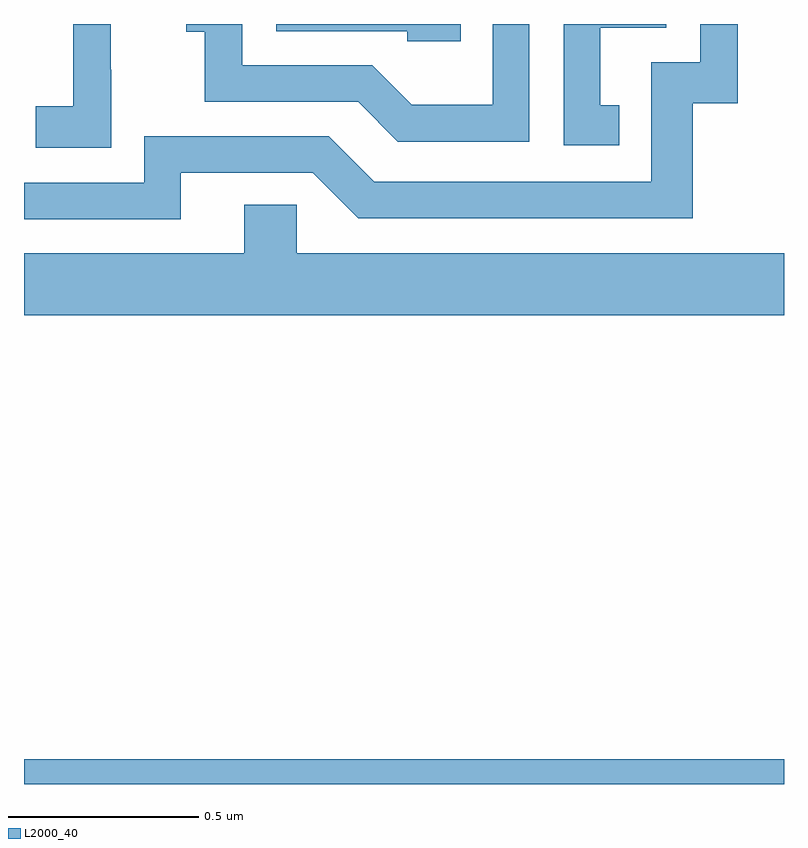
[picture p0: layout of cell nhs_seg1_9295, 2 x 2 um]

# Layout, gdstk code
import gdstk
lib = gdstk.Library(unit=1e-6, precision=1e-09)
def R(c, l, rs):  # rectangles x0, y0, x1, y1
    for r in rs: c.add(gdstk.rectangle(r[:2], r[2:], *l))
def P(c, l, *ps):  # polygons
    for p in ps: c.add(gdstk.Polygon(p, *l))
L2000_40 = (2000, 40)

nhs_seg1_9295 = lib.new_cell('nhs_seg1_9295')
R(nhs_seg1_9295, L2000_40, [(227,517.199,229,517.264)])
P(nhs_seg1_9295, L2000_40, [(228.33,519.199),(228.234,519.199),(228.234,518.986),(228.02,518.986),(227.916,519.09),(227.574,519.09),(227.574,519.199),(227.427,519.199),(227.427,519.179),(227.476,519.179),(227.476,518.994),(227.879,518.994),(227.984,518.889),(228.33,518.889)],
  [(227.413,518.808),(227.76,518.808),(227.88,518.688),(228.76,518.688),(228.76,518.991),(228.878,518.991),(228.878,519.199),(228.78,519.199),(228.78,519.099),(228.651,519.099),(228.651,518.784),(227.922,518.784),(227.802,518.904),(227.316,518.904),(227.316,518.781),(227,518.781),(227,518.685),(227.413,518.685)],
  [(228.566,518.985),(228.517,518.985),(228.517,519.189),(228.69,519.189),(228.69,519.199),(228.42,519.199),(228.42,518.88),(228.566,518.88)],
  [(227.229,519.079),(227.228,519.079),(227.228,519.199),(227.129,519.199),(227.129,518.983),(227.031,518.983),(227.031,518.873),(227.229,518.873)],
  [(228.149,519.199),(227.664,519.199),(227.664,519.18),(228.009,519.18),(228.009,519.153),(228.149,519.153)],
  [(229,518.596),(227.718,518.596),(227.718,518.723),(227.579,518.723),(227.579,518.596),(227,518.596),(227,518.432),(229,518.432)])

lib.write_gds('nhs_seg1_9295.gds')
